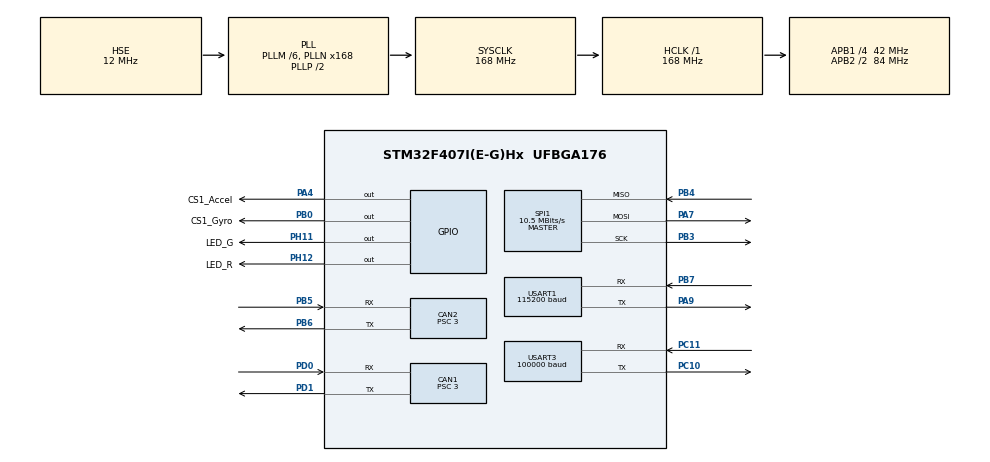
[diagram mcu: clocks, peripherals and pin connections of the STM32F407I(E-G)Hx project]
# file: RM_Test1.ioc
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CAN1.ABOM=ENABLE
CAN1.BS1=CAN_BS1_10TQ
CAN1.BS2=CAN_BS2_3TQ
CAN1.CalculateBaudRate=1000000
CAN1.CalculateTimeBit=1000
CAN1.CalculateTimeQuantum=71.42857142857143
CAN1.Mode=CAN_MODE_NORMAL
CAN1.Prescaler=3
CAN2.ABOM=ENABLE
CAN2.BS1=CAN_BS1_10TQ
CAN2.BS2=CAN_BS2_3TQ
CAN2.CalculateBaudRate=1000000
CAN2.CalculateTimeBit=1000
CAN2.CalculateTimeQuantum=71.42857142857143
CAN2.Prescaler=3
Dma.Request0=USART3_RX
Dma.Request1=USART1_RX
Dma.Request2=USART1_TX
Dma.USART1_RX.1.Direction=DMA_PERIPH_TO_MEMORY
Dma.USART1_RX.1.FIFOMode=DMA_FIFOMODE_DISABLE
Dma.USART1_RX.1.Instance=DMA2_Stream2
Dma.USART1_RX.1.MemDataAlignment=DMA_MDATAALIGN_BYTE
Dma.USART1_RX.1.MemInc=DMA_MINC_ENABLE
Dma.USART1_RX.1.Mode=DMA_NORMAL
Dma.USART1_RX.1.PeriphDataAlignment=DMA_PDATAALIGN_BYTE
Dma.USART1_RX.1.PeriphInc=DMA_PINC_DISABLE
Dma.USART1_RX.1.Priority=DMA_PRIORITY_HIGH
Dma.USART1_TX.2.Direction=DMA_MEMORY_TO_PERIPH
Dma.USART1_TX.2.FIFOMode=DMA_FIFOMODE_DISABLE
Dma.USART1_TX.2.Instance=DMA2_Stream7
Dma.USART1_TX.2.MemDataAlignment=DMA_MDATAALIGN_BYTE
Dma.USART1_TX.2.MemInc=DMA_MINC_ENABLE
Dma.USART1_TX.2.Mode=DMA_NORMAL
Dma.USART1_TX.2.PeriphDataAlignment=DMA_PDATAALIGN_BYTE
Dma.USART1_TX.2.PeriphInc=DMA_PINC_DISABLE
Dma.USART1_TX.2.Priority=DMA_PRIORITY_HIGH
Dma.USART3_RX.0.Direction=DMA_PERIPH_TO_MEMORY
Dma.USART3_RX.0.FIFOMode=DMA_FIFOMODE_DISABLE
Dma.USART3_RX.0.Instance=DMA1_Stream1
Dma.USART3_RX.0.MemDataAlignment=DMA_MDATAALIGN_BYTE
Dma.USART3_RX.0.MemInc=DMA_MINC_ENABLE
Dma.USART3_RX.0.Mode=DMA_NORMAL
Dma.USART3_RX.0.PeriphDataAlignment=DMA_PDATAALIGN_BYTE
Dma.USART3_RX.0.PeriphInc=DMA_PINC_DISABLE
Dma.USART3_RX.0.Priority=DMA_PRIORITY_HIGH
Mcu.Family=STM32F4
Mcu.Name=STM32F407I(E-G)Hx
Mcu.Package=UFBGA176
NVIC.CAN1_RX0_IRQn=true\:5\:0\:true\:false\:true\:true\:true\:true
NVIC.CAN1_TX_IRQn=true\:0\:0\:false\:false\:true\:true\:true\:true
NVIC.CAN2_RX0_IRQn=true\:0\:0\:false\:false\:true\:true\:true\:true
NVIC.CAN2_TX_IRQn=true\:0\:0\:false\:false\:true\:true\:true\:true
NVIC.DMA1_Stream1_IRQn=true\:0\:0\:false\:false\:true\:false\:true\:true
NVIC.DMA2_Stream2_IRQn=true\:0\:0\:false\:false\:true\:false\:true\:true
NVIC.DMA2_Stream7_IRQn=true\:0\:0\:false\:false\:true\:false\:true\:true
NVIC.PriorityGroup=NVIC_PRIORITYGROUP_4
NVIC.SPI1_IRQn=true\:5\:0\:true\:false\:true\:true\:true\:true
NVIC.TIM1_BRK_TIM9_IRQn=true\:5\:0\:true\:false\:true\:true\:true\:true
NVIC.TIM5_IRQn=true\:0\:0\:false\:false\:true\:true\:true\:true
NVIC.TIM8_BRK_TIM12_IRQn=true\:0\:0\:false\:false\:true\:true\:true\:true
NVIC.USART1_IRQn=true\:10\:0\:true\:false\:true\:true\:true\:true
NVIC.USART3_IRQn=true\:10\:0\:true\:false\:true\:true\:true\:true
PA13.Mode=Serial_Wire
PA13.Signal=SYS_JTMS-SWDIO
PA14.Mode=Serial_Wire
PA14.Signal=SYS_JTCK-SWCLK
PA4.GPIO_Label=CS1_Accel
PA4.GPIO_PuPd=GPIO_PULLUP
PA4.GPIO_Speed=GPIO_SPEED_FREQ_VERY_HIGH
PA4.PinState=GPIO_PIN_SET
PA4.Signal=GPIO_Output
PA7.Mode=Full_Duplex_Master
PA7.Signal=SPI1_MOSI
PA9.Mode=Asynchronous
PA9.Signal=USART1_TX
PB0.GPIO_Label=CS1_Gyro
PB0.GPIO_PuPd=GPIO_PULLUP
PB0.GPIO_Speed=GPIO_SPEED_FREQ_VERY_HIGH
PB0.PinState=GPIO_PIN_SET
PB0.Signal=GPIO_Output
PB3.Mode=Full_Duplex_Master
PB3.Signal=SPI1_SCK
PB4.Mode=Full_Duplex_Master
PB4.Signal=SPI1_MISO
PB5.Mode=CAN_Activate
PB5.Signal=CAN2_RX
PB6.Mode=CAN_Activate
PB6.Signal=CAN2_TX
PB7.Mode=Asynchronous
PB7.Signal=USART1_RX
PC10.Mode=Asynchronous
PC10.Signal=USART3_TX
PC11.Mode=Asynchronous
PC11.Signal=USART3_RX
PD0.Mode=CAN_Activate
PD0.Signal=CAN1_RX
PD1.Mode=CAN_Activate
PD1.Signal=CAN1_TX
PH0-OSC_IN.Mode=HSE-External-Oscillator
PH0-OSC_IN.Signal=RCC_OSC_IN
PH1-OSC_OUT.Mode=HSE-External-Oscillator
PH1-OSC_OUT.Signal=RCC_OSC_OUT
PH11.GPIO_Label=LED_G
PH11.GPIO_PuPd=GPIO_PULLUP
PH11.GPIO_Speed=GPIO_SPEED_FREQ_MEDIUM
PH11.PinState=GPIO_PIN_RESET
PH11.Signal=GPIO_Output
PH12.GPIO_Label=LED_R
PH12.GPIO_PuPd=GPIO_PULLUP
PH12.GPIO_Speed=GPIO_SPEED_FREQ_MEDIUM
PH12.PinState=GPIO_PIN_SET
PH12.Signal=GPIO_Output
ProjectManager.HeapSize=0x200
ProjectManager.StackSize=0x400
ProjectManager.TargetToolchain=STM32CubeIDE
RCC.48MHZClocksFreq_Value=84000000
RCC.AHBFreq_Value=168000000
RCC.APB1CLKDivider=RCC_HCLK_DIV4
RCC.APB1Freq_Value=42000000
RCC.APB1TimFreq_Value=84000000
RCC.APB2CLKDivider=RCC_HCLK_DIV2
RCC.APB2Freq_Value=84000000
RCC.APB2TimFreq_Value=168000000
RCC.CortexFreq_Value=168000000
RCC.HCLKFreq_Value=168000000
RCC.HSE_VALUE=12000000
RCC.HSI_VALUE=16000000
RCC.LSE_VALUE=32768
RCC.PLLM=6
RCC.PLLN=168
RCC.PLLSourceVirtual=RCC_PLLSOURCE_HSE
RCC.SYSCLKFreq_VALUE=168000000
RCC.SYSCLKSource=RCC_SYSCLKSOURCE_PLLCLK
RCC.VCOOutputFreq_Value=336000000
SPI1.BaudRatePrescaler=SPI_BAUDRATEPRESCALER_8
SPI1.CLKPhase=SPI_PHASE_2EDGE
SPI1.CLKPolarity=SPI_POLARITY_HIGH
SPI1.CalculateBaudRate=10.5 MBits/s
SPI1.Direction=SPI_DIRECTION_2LINES
SPI1.Mode=SPI_MODE_MASTER
SPI1.VirtualType=VM_MASTER
TIM12.Period=999
TIM12.Prescaler=209
TIM5.Period=999
TIM5.Prescaler=41
TIM9.Period=999
TIM9.Prescaler=99
USART1.BaudRate=115200
USART1.Parity=PARITY_NONE
USART1.VirtualMode=VM_ASYNC
USART3.BaudRate=100000
USART3.Mode=MODE_TX_RX
USART3.Parity=PARITY_EVEN
USART3.VirtualMode=VM_ASYNC
USART3.WordLength=WORDLENGTH_9B
VP_TIM12_VS_ClockSourceINT.Mode=Internal
VP_TIM5_VS_ClockSourceINT.Mode=Internal
VP_TIM9_VS_ClockSourceINT.Mode=Internal
board=custom

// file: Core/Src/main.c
/* USER CODE BEGIN Header */
/**
  ******************************************************************************
  * @file           : main.c
  * @brief          : Main program body
  ******************************************************************************
  * @attention
  *
  * Copyright (c) 2023 STMicroelectronics.
  * All rights reserved.
  *
  * This software is licensed under terms that can be found in the LICENSE file
  * in the root directory of this software component.
  * If no LICENSE file comes with this software, it is provided AS-IS.
  *
  ******************************************************************************
  */
/* USER CODE END Header */
#include "main.h"
#include "can.h"
#include "dma.h"
#include "spi.h"
#include "tim.h"
#include "usart.h"
#include "gpio.h"

/* USER CODE BEGIN Includes */
#include "retarget.h"
#include "motor.h"
#include "pid.h"
#include "stdio.h"
#include "imu.h"
#include "math.h"
#include "Chassis.h"
#include "Gimbal.h"
#include "Shooter.h"
#include "remote.h"
/* USER CODE END Includes */

void SystemClock_Config(void);

int main(void)
{

  /* MCU Configuration--------------------------------------------------------*/

  /* Reset of all peripherals, Initializes the Flash interface and the Systick. */
  HAL_Init();

  /* Configure the system clock */
  SystemClock_Config();

  /* Initialize all configured peripherals */
  MX_GPIO_Init();
  MX_DMA_Init();
  MX_CAN1_Init();
  MX_SPI1_Init();
  MX_USART3_UART_Init();
  MX_TIM9_Init();
  MX_USART1_UART_Init();
  MX_TIM12_Init();
  MX_CAN2_Init();
  MX_TIM5_Init();
  /* USER CODE BEGIN 2 */
  HAL_TIM_Base_Start_IT(&htim5);
  HAL_TIM_Base_Start_IT(&htim9);
  HAL_TIM_Base_Start_IT(&htim12);
  RetargetInit(&huart1);
  RemoteInit();
  MotorInit();
  PID_Init();
  Chassis_Init();
  Gimbal_Init();
  Shooter_Init();
  HAL_Delay(10);
  BMI088_Init();
  HAL_GPIO_TogglePin(LED_R_GPIO_Port, LED_R_Pin);

//  printf("OKK!");
//  Motor_Info[Yaw].TargetAngle=1024*1-1;

  /* USER CODE END 2 */

  /* Infinite loop */
  /* USER CODE BEGIN WHILE */
  while (1)
  {

//	  for(uint16_t i=0;i<3600;i++)
//	  {
//		  Motor_Info[Chassis1].TargetSpeed =sinf(i*2*PI/3600);
//		  HAL_Delay(10);
//		  printf("%d,%d,%d\r\n",Motor_Info[Chassis1].TargetSpeed,Motor_Info[Chassis1].Speed,Motor_Info[Chassis1].TargetSpeed-Motor_Info[Chassis1].Speed);
//	  }
//	  for(uint16_t i=0;i<3600;i++)
//	  {
//		  Motor_Info[Yaw].TargetSpeed =200*sinf(2*i*PI/3600);
//		  HAL_Delay(10);
//		  printf("%d,%d,%d\r\n",Motor_Info[Yaw].TargetSpeed,Motor_Info[Yaw].Speed,Motor_Info[Yaw].TargetSpeed-Motor_Info[Yaw].Speed);
//	  }
//	  for(uint16_t i=0;i<1800;i++)
//	  {
//		Motor_Info[Yaw].TargetAngle=8191*sinf(i*PI/3600);
//		  printf("%d,%d,%d\r\n",Motor_Info[Yaw].TargetAngle,Motor_Info[Yaw].Angle,Motor_Info[Yaw].TargetAngle-Motor_Info[Yaw].Angle);
//		  HAL_Delay(10);
//
//	  }
//	  printf("%d,%d,%d\r\n",Motor_Info[Yaw].TargetAngle,Motor_Info[Yaw].Angle,Motor_Info[Yaw].TargetAngle-Motor_Info[Yaw].Angle);
//	  printf("%d,%d\r\n",
//			  Motor_Info[Yaw].TargetAngle,
//			  Motor_Info[Yaw].Angle);
//	  printf("%f,%f,%f\r\n",ImuData.angle[0],ImuData.angle[1],ImuData.angle[2]);

	  HAL_GPIO_TogglePin(LED_G_GPIO_Port, LED_G_Pin);
	  HAL_Delay(1000);
    /* USER CODE END WHILE */

  }
}

void SystemClock_Config(void)
{
  RCC_OscInitTypeDef RCC_OscInitStruct = {0};
  RCC_ClkInitTypeDef RCC_ClkInitStruct = {0};

  /** Configure the main internal regulator output voltage
  */
  __HAL_RCC_PWR_CLK_ENABLE();
  __HAL_PWR_VOLTAGESCALING_CONFIG(PWR_REGULATOR_VOLTAGE_SCALE1);

  /** Initializes the RCC Oscillators according to the specified parameters
  * in the RCC_OscInitTypeDef structure.
  */
  RCC_OscInitStruct.OscillatorType = RCC_OSCILLATORTYPE_HSE;
  RCC_OscInitStruct.HSEState = RCC_HSE_ON;
  RCC_OscInitStruct.PLL.PLLState = RCC_PLL_ON;
  RCC_OscInitStruct.PLL.PLLSource = RCC_PLLSOURCE_HSE;
  RCC_OscInitStruct.PLL.PLLM = 6;
  RCC_OscInitStruct.PLL.PLLN = 168;
  RCC_OscInitStruct.PLL.PLLP = RCC_PLLP_DIV2;
  RCC_OscInitStruct.PLL.PLLQ = 4;
  if (HAL_RCC_OscConfig(&RCC_OscInitStruct) != HAL_OK)
  {
    Error_Handler();
  }

  /** Initializes the CPU, AHB and APB buses clocks
  */
  RCC_ClkInitStruct.ClockType = RCC_CLOCKTYPE_HCLK|RCC_CLOCKTYPE_SYSCLK
                              |RCC_CLOCKTYPE_PCLK1|RCC_CLOCKTYPE_PCLK2;
  RCC_ClkInitStruct.SYSCLKSource = RCC_SYSCLKSOURCE_PLLCLK;
  RCC_ClkInitStruct.AHBCLKDivider = RCC_SYSCLK_DIV1;
  RCC_ClkInitStruct.APB1CLKDivider = RCC_HCLK_DIV4;
  RCC_ClkInitStruct.APB2CLKDivider = RCC_HCLK_DIV2;

  if (HAL_RCC_ClockConfig(&RCC_ClkInitStruct, FLASH_LATENCY_5) != HAL_OK)
  {
    Error_Handler();
  }
}

void Error_Handler(void)
{
  __disable_irq();
  while (1)
  {
  }
}
